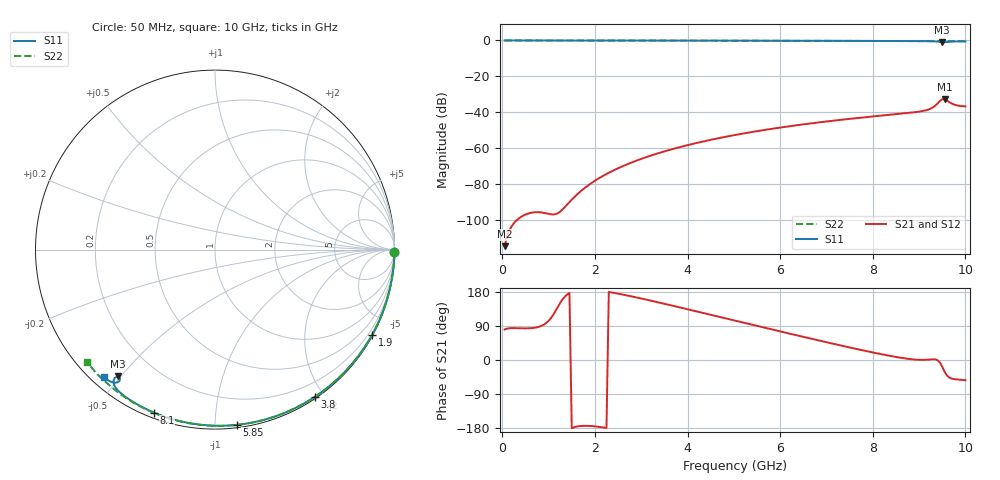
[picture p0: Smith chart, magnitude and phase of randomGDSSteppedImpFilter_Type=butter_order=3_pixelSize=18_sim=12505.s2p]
! freq	dB(S11)	phase(S11)	dB(S12)	phase(S12)
!  dB(S21)	phase(S21)	dB(S22)	phase(S22)
!S-par simulation data
#  GHz  S  DB  R 50
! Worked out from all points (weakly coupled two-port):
!   200 points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, 50 MHz to 10 GHz, reference 50 ohm
!   highest |S21| = -32.67 dB at 9.55 GHz (marker M1); lowest = -114.5 dB at 50 MHz (marker M2)
!   lowest |S11| = -1.0 dB at 9.5 GHz (marker M3), VSWR 17.35, Z = 3.58 - j24.6 ohm
!   |S11| at or under -10 dB: nowhere
!   |S22| runs from -0.5 to 0.0 dB; largest |S21 - S12| = 0
!   S11 on the Smith chart (normalised r, x): 50 MHz: open; 1.9 GHz: 0.03, -3.93; 3.8 GHz: 0.02, -1.89; 5.85 GHz: 0.02, -1.13; 8.1 GHz: 0.02, -0.69; 10 GHz: 0.04, -0.45
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0.05  -0.00 -0.8  -114.53 80.5  -114.53 80.5  -0.00 -0.8
0.9  -0.02 -13.7  -95.98 93.5  -95.98 93.5  -0.02 -14.4
1.75  -0.03 -26.4  -82.72 -173.8  -82.72 -173.8  -0.04 -27.7
1.9  -0.04 -28.6  -79.83 -174.2  -79.83 -174.2  -0.04 -30.0
2.2  -0.04 -33.0  -75.05 -178.4  -75.05 -178.4  -0.04 -34.6
2.55  -0.05 -38.1  -70.56 174.0  -70.56 174.0  -0.05 -40.0
2.95  -0.06 -43.8  -66.40 163.7  -66.40 163.7  -0.06 -46.0
3.4  -0.07 -50.2  -62.53 151.2  -62.53 151.2  -0.07 -52.7
3.8  -0.08 -55.8  -59.60 139.7  -59.60 139.7  -0.08 -58.5
5.05  -0.11 -72.6  -52.52 103.2  -52.52 103.2  -0.12 -76.1
5.85  -0.14 -83.0  -49.08 79.8  -49.08 79.8  -0.15 -87.0
6.7  -0.18 -93.7  -46.05 55.4  -46.05 55.4  -0.19 -98.1
8.1  -0.27 -110.6  -42.07 17.4  -42.07 17.4  -0.28 -115.7
8.35  -0.29 -113.6  -41.44 11.4  -41.44 11.4  -0.30 -118.8
8.9  -0.34 -120.3  -39.99 1.2  -39.99 1.2  -0.35 -125.5
9.15  -0.39 -123.7  -38.85 0.5  -38.85 0.5  -0.38 -128.5
9.3  -0.48 -126.0  -37.24 1.9  -37.24 1.9  -0.39 -130.3
9.4  -0.66 -127.6  -35.08 -0.5  -35.08 -0.5  -0.40 -131.5
9.5  -1.00 -127.5  -32.71 -17.7  -32.71 -17.7  -0.40 -132.7
9.55  -1.00 -126.4  -32.67 -30.8  -32.67 -30.8  -0.40 -133.3
9.75  -0.59 -127.7  -35.62 -50.3  -35.62 -50.3  -0.43 -135.8
10  -0.51 -131.2  -36.72 -53.3  -36.72 -53.3  -0.46 -138.9
